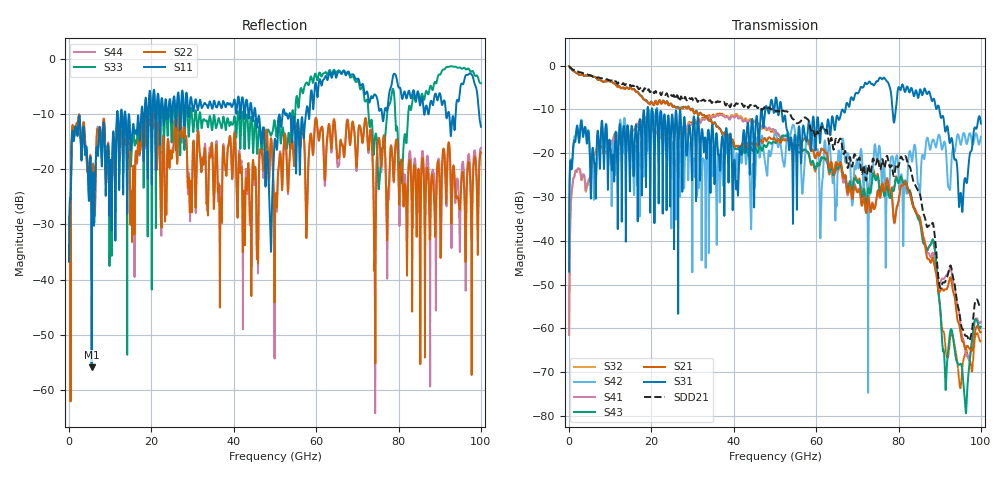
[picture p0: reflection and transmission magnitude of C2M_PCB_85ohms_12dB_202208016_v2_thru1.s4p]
! Info: Touchstone file created by Circ.  Input file=Intel_C2M_200G_2p5in_202208016_staggered.circ
# Hz S RI R 50
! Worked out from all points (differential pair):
!   10000 points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, 10 MHz to 100 GHz, reference 50 ohm
!   strongest paths, dB at 10 MHz, 25.01 GHz, 50.01 GHz, 75.01 GHz, 100 GHz:
!     S31: -47.0, -11.2, -8.4, -3.5, -13.2
!     S21: -0.1, -9.1, -16.8, -28.4, -60.9
!     S43: -0.1, -9.1, -17.6, -25.4, -59.6
!     S41: -61.5, -14.6, -15.1, -28.5, -58.5
!     S42: -47.0, -21.0, -14.8, -20.6, -16.3
!     S32: -61.5, -14.1, -15.6, -24.9, -62.9
!   taken as a pair (ports 1,3 in; 2,4 out), SDD21 dB: -0.1, -7.0, -10.3, -21.1, -54.9
!   lowest |S11| = -55.9 dB at 5.48 GHz (marker M1), VSWR 1.00, Z = 49.9 - j0.0683 ohm
!   |S11| at or under -10 dB: start of sweep to 11.64 GHz; 13.68 GHz to 17.53 GHz (3.85 GHz wide, 24.7 % of centre); 45.32 GHz to 51.85 GHz (6.537 GHz wide, 13.5 % of centre)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
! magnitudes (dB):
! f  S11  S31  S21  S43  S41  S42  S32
! 10 MHz  -36.7  -47.0  -0.1  -0.1  -61.5  -47.0  -61.5
! 1.12 GHz  -14.9  -17.6  -1.2  -1.2  -25.7  -17.8  -25.6
! 5.48 GHz  -55.9  -22.6  -2.3  -2.3  -23.7  -21.8  -23.8
! 65.44 GHz  -2.4  -12.3  -22.8  -23.3  -23.3  -19.4  -23.9
! 80.66 GHz  -6.4  -5.0  -27.3  -25.4  -27.6  -24.8  -25.1
! 91.41 GHz  -8.9  -15.1  -51.1  -73.9  -48.2  -18.4  -64.5
! 100 GHz  -12.3  -13.2  -60.9  -59.6  -58.5  -16.3  -62.9
